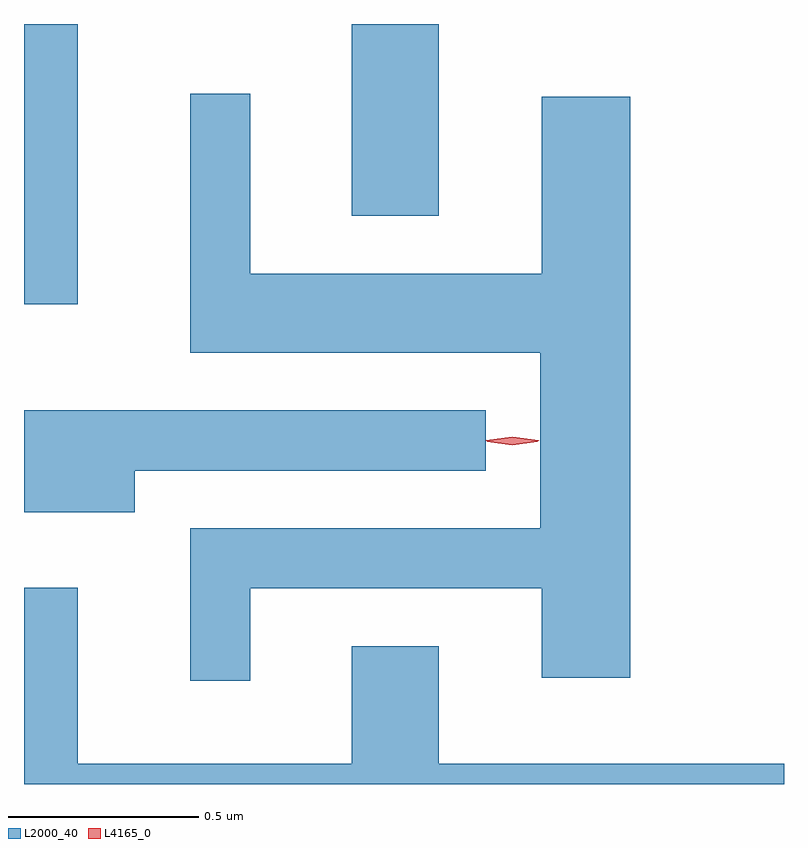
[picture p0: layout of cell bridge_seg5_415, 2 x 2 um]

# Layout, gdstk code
import gdstk
lib = gdstk.Library(unit=1e-6, precision=1e-09)
def R(c, l, rs):  # rectangles x0, y0, x1, y1
    for r in rs: c.add(gdstk.rectangle(r[:2], r[2:], *l))
def P(c, l, *ps):  # polygons
    for p in ps: c.add(gdstk.Polygon(p, *l))
L2000_40 = (2000, 40)
L4165_0 = (4165, 0)

bridge_seg5_415 = lib.new_cell('bridge_seg5_415')
R(bridge_seg5_415, L2000_40, [(578.348,1491.573,578.489,1492.311), (579.211,1491.806,579.439,1492.311)])
P(bridge_seg5_415, L2000_40, [(578.944,1490.826),(579.711,1490.826),(579.711,1490.591),(579.944,1490.591),(579.944,1492.119),(579.711,1492.119),(579.711,1491.654),(578.944,1491.654),(578.944,1492.128),(578.786,1492.128),(578.786,1491.446),(579.706,1491.446),(579.706,1490.984),(578.786,1490.984),(578.786,1490.583),(578.944,1490.583)],
  [(578.639,1491.136),(579.563,1491.136),(579.563,1491.294),(578.348,1491.294),(578.348,1491.026),(578.639,1491.026)],
  [(580.348,1490.364),(579.439,1490.364),(579.439,1490.674),(579.211,1490.674),(579.211,1490.364),(578.489,1490.364),(578.489,1490.828),(578.348,1490.828),(578.348,1490.311),(580.348,1490.311)])
P(bridge_seg5_415, L4165_0, [(579.633,1491.205),(579.564,1491.214),(579.563,1491.215),(579.564,1491.215),(579.633,1491.225),(579.702,1491.215),(579.702,1491.215),(579.702,1491.214)],
  [(579.633,1491.203),(579.567,1491.212),(579.567,1491.213),(579.567,1491.213),(579.633,1491.223),(579.699,1491.213),(579.7,1491.213),(579.699,1491.212)])

lib.write_gds('bridge_seg5_415.gds')
